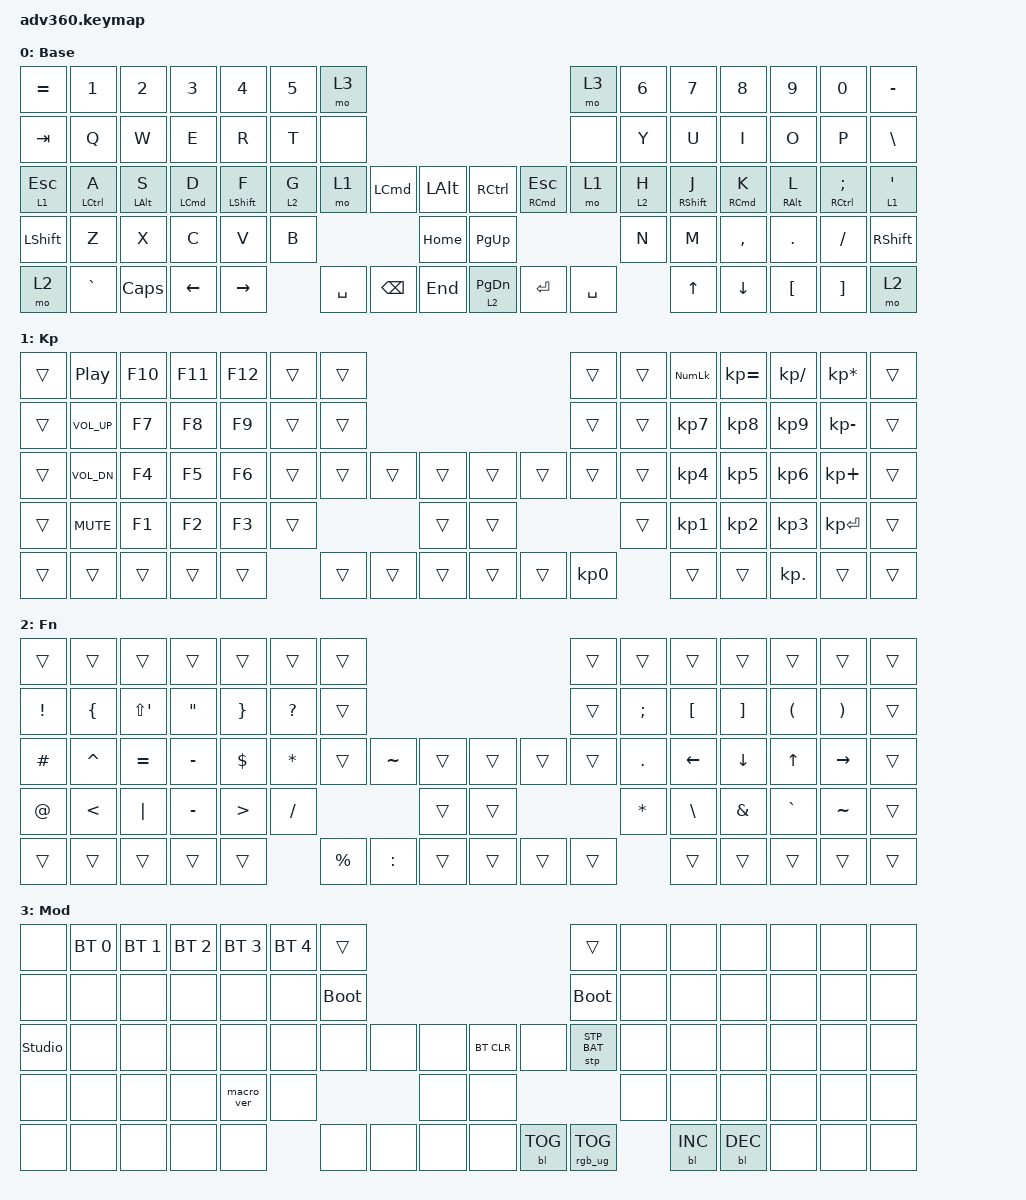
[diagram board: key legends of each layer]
#include <dt-bindings/zmk/stp.h>
#include <behaviors.dtsi>
#include <dt-bindings/zmk/backlight.h>
#include <dt-bindings/zmk/bt.h>
#include <dt-bindings/zmk/keys.h>
#include <dt-bindings/zmk/rgb.h>

/ {
    behaviors {
        #include "macros.dtsi"
      #include "version.dtsi"

        hm: homerow_mods {
            compatible = "zmk,behavior-hold-tap";
            label = "HOMEROW_MODS";
            #binding-cells = <2>;
            tapping-term-ms = <175>;
            flavor = "tap-preferred";
            bindings = <&kp>, <&kp>;

            quick-tap-ms = <150>;
        };

        okl: outer_key_layer {
            compatible = "zmk,behavior-hold-tap";
            label = "OUTER_KEY_LAYER";
            bindings = <&mo>, <&kp>;

            #binding-cells = <2>;
            tapping-term-ms = <175>;
            flavor = "balanced";
            quick-tap-ms = <150>;
        };
    };

    keymap {
        compatible = "zmk,keymap";

        default_layer {
            display-name = "Base";
            bindings = <
&kp EQUAL   &kp N1       &kp N2      &kp N3      &kp N4       &kp N5    &mo 3                                                                  &mo 3      &kp N6    &kp N7       &kp N8      &kp N9      &kp N0          &kp MINUS
&kp TAB     &kp Q        &kp W       &kp E       &kp R        &kp T     &none                                                                  &none      &kp Y     &kp U        &kp I       &kp O       &kp P           &kp BSLH
&okl 1 ESC  &hm LCTRL A  &hm LALT S  &hm LCMD D  &hm LSHFT F  &okl 2 G  &mo 1      &kp LCMD       &kp LALT      &kp RCTRL     &hm RCMD ESCAPE  &mo 1      &okl 2 H  &hm RSHFT J  &hm RCMD K  &hm RALT L  &hm RCTRL SEMI  &okl 1 SQT
&kp LSHFT   &kp Z        &kp X       &kp C       &kp V        &kp B                               &kp HOME      &kp PG_UP                                 &kp N     &kp M        &kp COMMA   &kp DOT     &kp FSLH        &kp RSHFT
&mo 2       &kp GRAVE    &kp CAPS    &kp LEFT    &kp RIGHT              &kp SPACE  &kp BACKSPACE  &kp END       &okl 2 PG_DN  &kp ENTER        &kp SPACE            &kp UP       &kp DOWN    &kp LBKT    &kp RBKT        &mo 2
            >;
        };

        keypad {
            display-name = "Kp";
            bindings = <
&trans  &kp C_PLAY_PAUSE  &kp F10  &kp F11  &kp F12  &trans  &trans                                      &trans     &trans  &kp KP_NUM  &kp KP_EQUAL  &kp KP_DIVIDE  &kp KP_MULTIPLY  &trans
&trans  &kp C_VOLUME_UP   &kp F7   &kp F8   &kp F9   &trans  &trans                                      &trans     &trans  &kp KP_N7   &kp KP_N8     &kp KP_N9      &kp KP_MINUS     &trans
&trans  &kp C_VOL_DN      &kp F4   &kp F5   &kp F6   &trans  &trans  &trans  &trans      &trans  &trans  &trans     &trans  &kp KP_N4   &kp KP_N5     &kp KP_N6      &kp KP_PLUS      &trans
&trans  &kp C_MUTE        &kp F1   &kp F2   &kp F3   &trans                  &trans      &trans                     &trans  &kp KP_N1   &kp KP_N2     &kp KP_N3      &kp KP_ENTER     &trans
&trans  &trans            &trans   &trans   &trans           &trans  &trans  &trans      &trans  &trans  &kp KP_N0          &trans      &trans        &kp KP_DOT     &trans           &trans
            >;
        };

        fn {
            display-name = "Fn";
            bindings = <
&trans    &trans     &trans       &trans     &trans    &trans     &trans                                            &trans  &trans    &trans    &trans    &trans                &trans     &trans
&kp EXCL  &kp LBRC   &kp LS(SQT)  &kp DQT    &kp RBRC  &kp QMARK  &trans                                            &trans  &kp SEMI  &kp LBKT  &kp RBKT  &kp LEFT_PARENTHESIS  &kp RPAR   &trans
&kp HASH  &kp CARET  &kp EQUAL    &kp MINUS  &kp DLLR  &kp STAR   &trans     &kp TILDE  &trans      &trans  &trans  &trans  &kp DOT   &kp LEFT  &kp DOWN  &kp UP                &kp RIGHT  &trans
&kp AT    &kp LT     &kp PIPE     &kp MINUS  &kp GT    &kp FSLH                         &trans      &trans                  &kp STAR  &kp BSLH  &kp AMPS  &kp GRAVE             &kp TILDE  &trans
&trans    &trans     &trans       &trans     &trans               &kp PRCNT  &kp COLON  &trans      &trans  &trans  &trans            &trans    &trans    &trans                &trans     &trans
            >;
        };

        mod {
            display-name = "Mod";
            bindings = <
&none           &bt BT_SEL 0  &bt BT_SEL 1  &bt BT_SEL 2  &bt BT_SEL 3  &bt BT_SEL 4  &trans                                                 &trans           &none  &none       &none       &none  &none  &none
&none           &none         &none         &none         &none         &none         &bootloader                                            &bootloader      &none  &none       &none       &none  &none  &none
&studio_unlock  &none         &none         &none         &none         &none         &none        &none  &none      &bt BT_CLR  &none       &stp STP_BAT     &none  &none       &none       &none  &none  &none
&none           &none         &none         &none         &macro_ver    &none                             &none      &none                                    &none  &none       &none       &none  &none  &none
&none           &none         &none         &none         &none                       &none        &none  &none      &none       &bl BL_TOG  &rgb_ug RGB_TOG         &bl BL_INC  &bl BL_DEC  &none  &none  &none
            >;
        };

        extra1 {
            display-name = "Red";
            status = "reserved";
        };

        extra2 {
            display-name = "Purple";
            status = "reserved";
        };

        extra3 {
            display-name = "Cyan";
            status = "reserved";
        };

        extra4 {
            display-name = "Yellow";
            status = "reserved";
        };
    };
};
